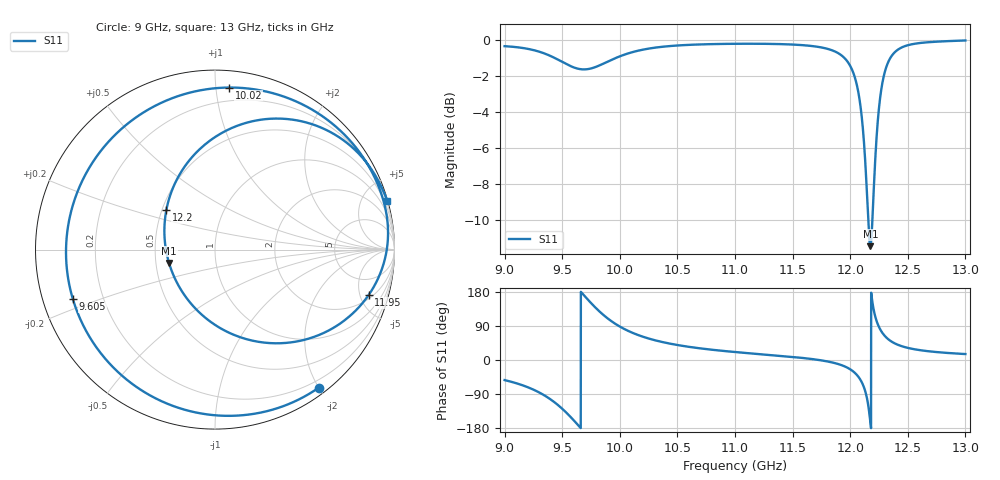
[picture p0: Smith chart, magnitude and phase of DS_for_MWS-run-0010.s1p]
! TOUCHSTONE file generated by CST DESIGN STUDIO
! Date and time: Tue Feb  4 14:27:53 2025
! Project name: C:\Work\MatlabApps\UnitCellOptimizationMatlab\CST\unitcell.cst
! Tree item: Tasks\Sweep1\SPara1\S-Parameters
! Header version: 2024
! Port assignment regex: !\s*Touchstone port\s*([0-9]+)\s*=\s*(CST MWS port|CST DES external port|CST DES block port)\s*(.+)\s* \(\"(.*)\"\)(\s*mode\s*([0-9]+))?.*
! Touchstone port assignment:
! Touchstone port 1 = CST DES external port 1 ("")
# GHz S MA R 50
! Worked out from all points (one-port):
!   4001 points, 9 GHz to 13 GHz, reference 50 ohm
!   lowest |S11| = -11.5 dB at 12.18 GHz (marker M1), VSWR 1.73, Z = 29.3 - j4.67 ohm
!   |S11| at or under -10 dB: 12.15629 GHz to 12.19276 GHz (36.47 MHz wide, 0.3 % of centre)
!   S11 on the Smith chart (normalised r, x): 9 GHz: 0.10, -2.00; 9.605 GHz: 0.09, -0.17; 10.02 GHz: 0.11, +1.08; 11.95 GHz: 2.40, -5.97; 12.2 GHz: 0.53, +0.27; 13 GHz: 0.05, +7.26
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9  0.9622 -53.0
9.168  0.95 -68.0
9.32  0.9245 -88.9
9.416  0.8982 -107.6
9.5  0.87 -128.6
9.605  0.8386 -160.8
9.702  0.8292 166.3
9.814  0.8479 130.8
9.901  0.8733 108.3
10  0.9015 88.3
10.019  0.9063 85.0
10.23  0.9448 58.6
10.5  0.9664 39.6
11  0.9771 21.0
11.5  0.9722 8.0
11.772  0.9512 -2.1
11.949  0.8927 -16.5
12  0.8479 -24.5
12.059  0.7471 -39.8
12.11  0.5675 -64.8
12.142  0.3934 -95.7
12.175  0.2668 -163.9
12.199  0.35 140.7
12.239  0.5927 94.8
12.282  0.7681 70.5
12.37  0.9129 46.6
12.5  0.968 32.0
13  0.9981 15.7
